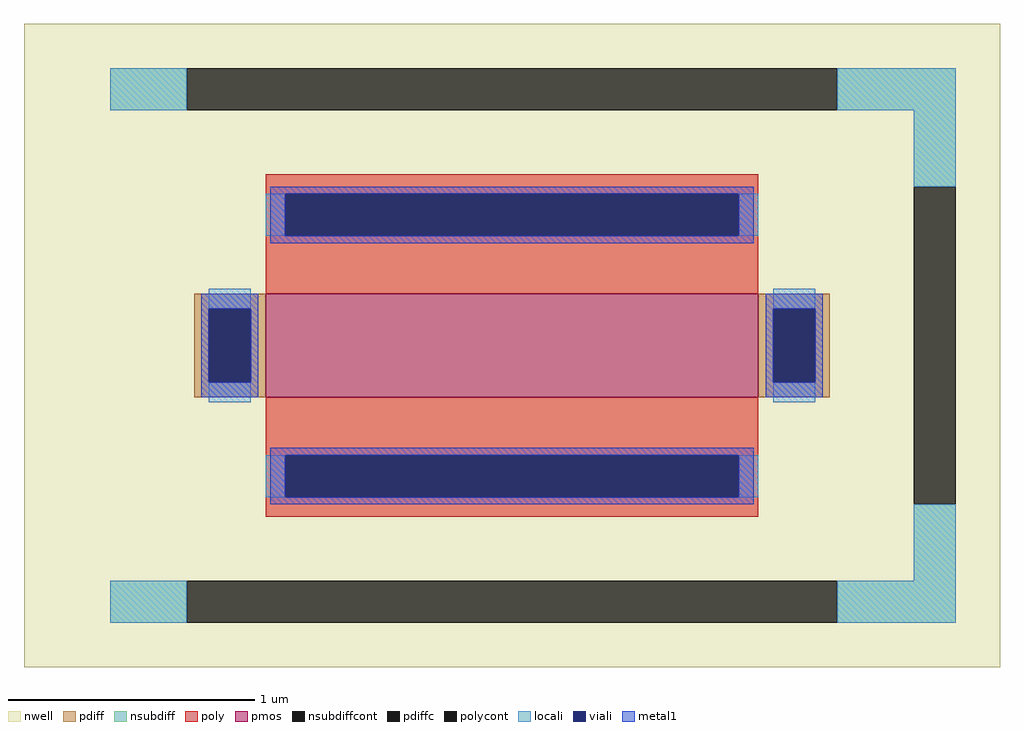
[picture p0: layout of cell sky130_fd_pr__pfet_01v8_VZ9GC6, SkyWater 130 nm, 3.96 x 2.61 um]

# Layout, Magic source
magic
tech sky130A
magscale 1 2
<< nwell >>
rect -396 -261 396 261
<< pmos >>
rect -200 -42 200 42
<< pdiff >>
rect -258 30 -200 42
rect -258 -30 -246 30
rect -212 -30 -200 30
rect -258 -42 -200 -30
rect 200 30 258 42
rect 200 -30 212 30
rect 246 -30 258 30
rect 200 -42 258 -30
<< pdiffc >>
rect -246 -30 -212 30
rect 212 -30 246 30
<< nsubdiff >>
rect -326 191 -264 225
rect 264 191 360 225
rect 326 129 360 191
rect 326 -191 360 -129
rect -326 -225 -264 -191
rect 264 -225 360 -191
<< nsubdiffcont >>
rect -264 191 264 225
rect 326 -129 360 129
rect -264 -225 264 -191
<< poly >>
rect -200 123 200 139
rect -200 89 -184 123
rect 184 89 200 123
rect -200 42 200 89
rect -200 -89 200 -42
rect -200 -123 -184 -89
rect 184 -123 200 -89
rect -200 -139 200 -123
<< polycont >>
rect -184 89 184 123
rect -184 -123 184 -89
<< locali >>
rect -326 191 -264 225
rect 264 191 360 225
rect 326 129 360 191
rect -200 89 -184 123
rect 184 89 200 123
rect -246 30 -212 46
rect -246 -46 -212 -30
rect 212 30 246 46
rect 212 -46 246 -30
rect -200 -123 -184 -89
rect 184 -123 200 -89
rect 326 -191 360 -129
rect -326 -225 -264 -191
rect 264 -225 360 -191
<< viali >>
rect -184 89 184 123
rect -246 -30 -212 30
rect 212 -30 246 30
rect -184 -123 184 -89
<< metal1 >>
rect -196 123 196 129
rect -196 89 -184 123
rect 184 89 196 123
rect -196 83 196 89
rect -252 30 -206 42
rect -252 -30 -246 30
rect -212 -30 -206 30
rect -252 -42 -206 -30
rect 206 30 252 42
rect 206 -30 212 30
rect 246 -30 252 30
rect 206 -42 252 -30
rect -196 -89 196 -83
rect -196 -123 -184 -89
rect 184 -123 196 -89
rect -196 -129 196 -123
<< properties >>
string FIXED_BBOX -343 -208 343 208
string gencell sky130_fd_pr__pfet_01v8
string library sky130
string parameters w 0.42 l 2.0 m 1 nf 1 diffcov 100 polycov 100 guard 1 glc 1 grc 1 gtc 1 gbc 1 tbcov 100 rlcov 100 topc 1 botc 1 poverlap 0 doverlap 1 lmin 0.15 wmin 0.42 compatible {sky130_fd_pr__pfet_01v8  sky130_fd_pr__pfet_01v8_lvt sky130_fd_pr__pfet_01v8_hvt  sky130_fd_pr__pfet_g5v0d10v5} full_metal 1 viasrc 100 viadrn 100 viagate 100 viagb 0 viagr 0 viagl 0 viagt 0
<< end >>
